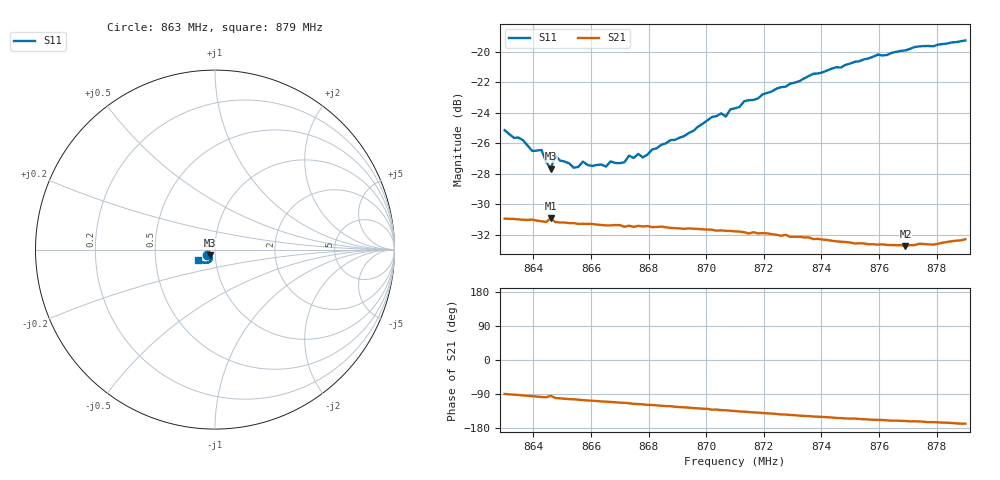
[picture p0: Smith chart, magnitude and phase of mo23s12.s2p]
# HZ S RI R 50
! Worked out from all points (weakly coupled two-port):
!   101 points, 863 MHz to 879 MHz, reference 50 ohm
!   highest |S21| = -30.92 dB at 864.6 MHz (marker M1); lowest = -32.7 dB at 876.92 MHz (marker M2)
!   lowest |S11| = -27.7 dB at 864.6 MHz (marker M3), VSWR 1.09, Z = 47.1 - j2.78 ohm
!   |S11| at or under -10 dB: start of sweep to end of sweep
!   S12 and S22 are empty: the file has one direction only
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8.63e8  -0.0471 -0.0291  0.000209 -0.0284  0 0  0 0
8.6364e8  -0.042 -0.0294  -0.00172 -0.0281  0 0  0 0
8.6396e8  -0.0385 -0.0275  -0.00271 -0.0281  0 0  0 0
8.6428e8  -0.0371 -0.0299  -0.00367 -0.0276  0 0  0 0
8.646e8  -0.0292 -0.0294  -0.00212 -0.0284  0 0  0 0
8.6476e8  -0.0348 -0.0294  -0.00496 -0.0272  0 0  0 0
8.654e8  -0.029 -0.03  -0.00648 -0.0267  0 0  0 0
8.6572e8  -0.0282 -0.0334  -0.00744 -0.0263  0 0  0 0
8.6652e8  -0.0232 -0.0351  -0.00924 -0.0254  0 0  0 0
8.6668e8  -0.0238 -0.0367  -0.00956 -0.0253  0 0  0 0
8.6716e8  -0.0204 -0.0383  -0.0105 -0.0246  0 0  0 0
8.6732e8  -0.022 -0.04  -0.011 -0.0246  0 0  0 0
8.678e8  -0.0197 -0.0405  -0.0122 -0.0238  0 0  0 0
8.6844e8  -0.0203 -0.0452  -0.0137 -0.023  0 0  0 0
8.6924e8  -0.0183 -0.0496  -0.0151 -0.0216  0 0  0 0
8.702e8  -0.0207 -0.0575  -0.0172 -0.0197  0 0  0 0
8.7068e8  -0.0201 -0.058  -0.0176 -0.0191  0 0  0 0
8.71e8  -0.0229 -0.0611  -0.0181 -0.0184  0 0  0 0
8.7372e8  -0.0416 -0.0737  -0.0209 -0.0125  0 0  0 0
8.7644e8  -0.0691 -0.071  -0.0219 -0.00792  0 0  0 0
8.7692e8  -0.0741 -0.0686  -0.0218 -0.00752  0 0  0 0
8.79e8  -0.0938 -0.0552  -0.0238 -0.00505  0 0  0 0
